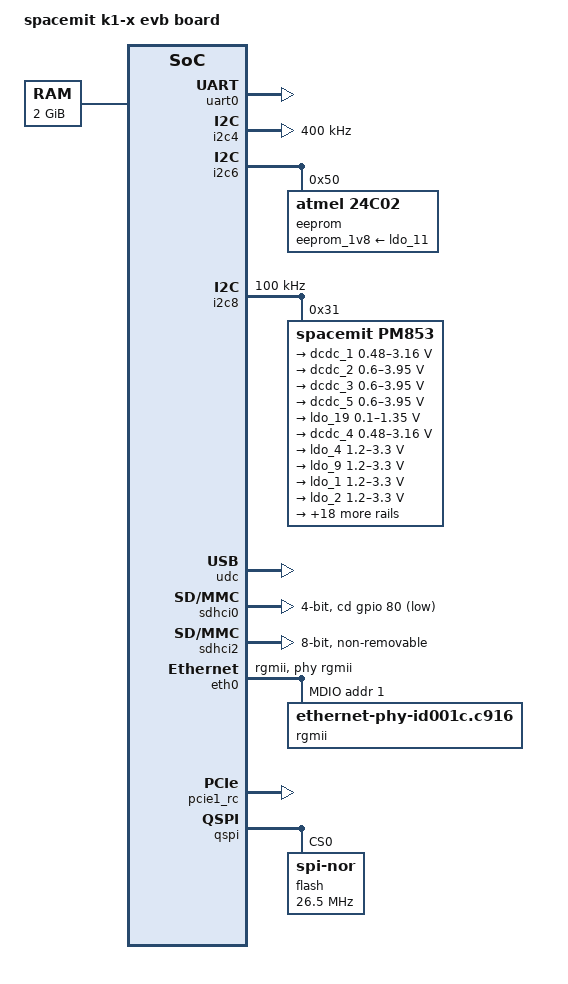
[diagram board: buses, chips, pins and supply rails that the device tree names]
// SPDX-License-Identifier: (GPL-2.0 OR MIT)
/* Copyright (c) 2023 Spacemit, Inc */

/dts-v1/;

#include "k1-x.dtsi"
#include "k1-x_pinctrl.dtsi"

/ {
	model = "spacemit k1-x evb board";

	memory@0 {
		device_type = "memory";
		reg = <0x00000000 0x00000000 0x00000000 0x80000000>;
		u-boot,dm-spl;
	};

	chosen {
		bootargs = "earlycon=sbi console=ttyS0,115200 debug loglevel=8,initcall_debug=1 rdinit=/init.tmp";
		stdout-path = "serial0:115200n8";
		u-boot,dm-spl;
	};
};

&cpu_0 {
	/* boot frequency for cluster-0, should be 1600000, 1228000, 819000, or 614000 */
	boot_freq_cluster0 = <1228000>;
	/* boot frequency for cluster-1, should be 1600000, 1228000, 819000, or 614000 */
	boot_freq_cluster1 = <1228000>;
	/* boot voltage for cpu, should be 800~1200, which means 0.8v~1.2v */
	boot_voltage = <950>;
};

&dramc {
	/* dram data rate, should be 1200, 1600, or 2400 */
	datarate = <2400>;
	/* boot voltage for dram, should be 600~800, which means 0.6v~0.8v */
	dram_voltage = <650>;
};

&cpus {
	timebase-frequency = <24000000>;
};

&uart0 {
	status = "okay";
};

&i2c0 {
	status = "disabled";
};

&i2c1 {
	status = "disabled";
};

&i2c2 {
	status = "disabled";
};

&i2c3 {
	/* SEC_I2C */
	status = "disabled";
};

&i2c4 {
	clock-frequency = <400000>;
	status = "okay";
};

&i2c5 {
	status = "disabled";
};

&i2c6 {
	#address-cells = <1>;
        #size-cells = <0>;
        pinctrl-names = "default";
        pinctrl-0 = <&pinctrl_i2c6_1>;
        status = "okay";

        eeprom@50{
                compatible = "atmel,24c02";
                reg = <0x50>;
                #address-cells = <1>;
                #size-cells = <1>;

                eeprom_1v8-supply = <&ldo_11>;
                vin-supply-names = "eeprom_1v8";
                status = "okay";
        };

};

&i2c7 {
	status = "disabled";
};

&i2c8 {
	/* PWR_I2C */
	clock-frequency = <100000>;
	u-boot,dm-spl;
	status = "okay";

	pm853: pmic@31 {
		compatible = "spacemit,pm853";
		reg = <0x31>;
		u-boot,dm-spl;

		regulators {
			/* buck */
			dcdc_1: DCDC_REG1 {
				regulator-name = "dcdc1";
				regulator-min-microvolt = <480000>;
				regulator-max-microvolt = <3160000>;
				regulator-boot-on;
				u-boot,dm-spl;
				regulator-state-mem {
					regulator-off-in-suspend;
					u-boot,dm-spl;
				};
			};

			dcdc_2: DCDC_REG2 {
				regulator-name = "dcdc2";
				regulator-min-microvolt = <600000>;
				regulator-max-microvolt = <3950000>;
			};

			dcdc_3: DCDC_REG3 {
				regulator-name = "dcdc3";
				regulator-min-microvolt = <600000>;
				regulator-max-microvolt = <3950000>;
			};

			/**
			 * the order of powering on
			 * 1. dcdc5
			 * 2. ldo19
			 * 3. dcdc4
			 * 4. ldo4
			 * 5. ldo9
			 */
			dcdc_5: DCDC_REG5 {
				regulator-name = "dcdc5";
				regulator-min-microvolt = <600000>;
				regulator-max-microvolt = <3950000>;
				regulator-boot-on;
				u-boot,dm-spl;
				regulator-state-mem {
					regulator-off-in-suspend;
					u-boot,dm-spl;
				};
			};

			ldo_19: LDO_REG19 {
				regulator-name = "ldo19";
				regulator-min-microvolt = <100000>;
				regulator-max-microvolt = <1350000>;
				regulator-boot-on;
				u-boot,dm-spl;
				regulator-state-mem {
					regulator-off-in-suspend;
					u-boot,dm-spl;
				};
			};

			dcdc_4: DCDC_REG4 {
				regulator-name = "dcdc4";
				regulator-min-microvolt = <480000>;
				regulator-max-microvolt = <3160000>;
				regulator-boot-on;
				u-boot,dm-spl;
				regulator-state-mem {
					regulator-off-in-suspend;
					u-boot,dm-spl;
				};
			};

			ldo_4: LDO_REG4 {
				regulator-name = "ldo4";
				regulator-min-microvolt = <1200000>;
				regulator-max-microvolt = <3300000>;
				regulator-boot-on;
				u-boot,dm-spl;
				regulator-state-mem {
					regulator-off-in-suspend;
					u-boot,dm-spl;
				};
			};

			ldo_9: LDO_REG9 {
				regulator-name = "ldo9";
				regulator-min-microvolt = <1200000>;
				regulator-max-microvolt = <3300000>;
				regulator-boot-on;
				u-boot,dm-spl;
				regulator-state-mem {
					regulator-off-in-suspend;
					u-boot,dm-spl;
				};
			};

			/* ldo */
			ldo_1: LDO_REG1 {
				regulator-name = "ldo1";
				regulator-min-microvolt = <1200000>;
				regulator-max-microvolt = <3300000>;
			};

			ldo_2: LDO_REG2 {
				regulator-name = "ldo2";
				regulator-min-microvolt = <1200000>;
				regulator-max-microvolt = <3300000>;
			};

			ldo_3: LDO_REG3 {
				regulator-name = "ldo3";
				regulator-min-microvolt = <1200000>;
				regulator-max-microvolt = <3300000>;
			};

			ldo_5: LDO_REG5 {
				regulator-name = "ldo5";
				regulator-min-microvolt = <1600000>;
				regulator-max-microvolt = <1900000>;
			};

			ldo_6: LDO_REG6 {
				regulator-name = "ldo6";
				regulator-min-microvolt = <1200000>;
				regulator-max-microvolt = <3300000>;
			};

			ldo_7: LDO_REG7 {
				regulator-name = "ldo7";
				regulator-min-microvolt = <1200000>;
				regulator-max-microvolt = <1950000>;
			};

			ldo_8: LDO_REG8 {
				regulator-name = "ldo8";
				regulator-min-microvolt = <1200000>;
				regulator-max-microvolt = <3300000>;
			};

			ldo_10: LDO_REG10 {
				regulator-name = "ldo10";
				regulator-min-microvolt = <1200000>;
				regulator-max-microvolt = <3300000>;
			};

			ldo_11: LDO_REG11 {
				regulator-name = "ldo11";
				regulator-always-on;
				regulator-min-microvolt = <1200000>;
				regulator-max-microvolt = <1950000>;
				regulator-state-mem {
                                        regulator-off-in-suspend;
                                        u-boot,dm-spl;
				};
			};

			ldo_12: LDO_REG12 {
				regulator-name = "ldo12";
				regulator-min-microvolt = <1200000>;
				regulator-max-microvolt = <3300000>;
			};

			ldo_13: LDO_REG13 {
				regulator-name = "ldo13";
				regulator-min-microvolt = <1200000>;
				regulator-max-microvolt = <3300000>;
			};

			ldo_14: LDO_REG14 {
				regulator-name = "ldo14";
				regulator-min-microvolt = <1200000>;
				regulator-max-microvolt = <3300000>;
			};

			ldo_15: LDO_REG15 {
				regulator-name = "ldo15";
				regulator-min-microvolt = <1200000>;
				regulator-max-microvolt = <1950000>;
			};

			ldo_16: LDO_REG16 {
				regulator-name = "ldo16";
				regulator-min-microvolt = <1200000>;
				regulator-max-microvolt = <3300000>;
			};

			ldo_17: LDO_REG17 {
				regulator-name = "ldo17";
				regulator-min-microvolt = <100000>;
				regulator-max-microvolt = <1350000>;
			};

			ldo_18: LDO_REG18 {
				regulator-name = "ldo18";
				regulator-min-microvolt = <1200000>;
				regulator-max-microvolt = <1950000>;
			};

			ldo_20: LDO_REG20 {
				regulator-name = "ldo20";
				regulator-min-microvolt = <100000>;
				regulator-max-microvolt = <1350000>;
			};

			ldo_21: LDO_REG21 {
				regulator-name = "ldo21";
				regulator-min-microvolt = <1200000>;
				regulator-max-microvolt = <1950000>;
			};

			ldo_22: LDO_REG22 {
				regulator-name = "ldo22";
				regulator-min-microvolt = <100000>;
				regulator-max-microvolt = <1350000>;
			};

			sw_1: SWITCH_REG1 {
				regulator-name = "switch1";
			};
		};
	};
};

&pinctrl {
	usbp1_vbus: usbp1_vbus {
		pinctrl-single,pins =<
			K1X_PADCONF(GPIO_66, MUX_MODE0, (EDGE_NONE | PULL_UP | PAD_1V8_DS2))    /* drive_vbus1_iso */
		>;
	};

	gpio80_pmx_func0: gpio80_pmx_func0 {
		pinctrl-single,pins = <
			K1X_PADCONF(GPIO_80, MUX_MODE0, (EDGE_BOTH | PULL_UP | PAD_3V_DS4))  /* mmc cd */
		>;
	};
};

&udc {
	status = "okay";
};

&usbphy1 {
	status = "disabled";
};

&ehci1 {
	pinctrl-names = "default";
	pinctrl-0 = <&usbp1_vbus>;
	status = "disabled";
};

&usbdrd3 {
	status = "disabled";
	dwc3@c0a00000 {
		maximum-speed = "high-speed";
		dr_mode = "peripheral";
		phy_type = "utmi_wide";
		snps,dis_enblslpm_quirk;
	};
};

&sdhci0 {
	pinctrl-names = "default";
	pinctrl-0 = <&pinctrl_mmc1 &gpio80_pmx_func0>;
	bus-width = <4>;
	cd-gpios = <&gpio 80 0>;
	cd-inverted;
	cap-sd-highspeed;
	sdh-phy-module = <0>;
	status = "okay";
};

/* eMMC */
&sdhci2 {
	bus-width = <8>;
	non-removable;
	mmc-hs400-1_8v;
	mmc-hs400-enhanced-strobe;
	sdh-phy-module = <1>;
	status = "okay";
};

&eth0 {
	status = "okay";
	pinctrl-names = "default";
	pinctrl-0 = <&pinctrl_gmac0>;

	phy-reset-pin = <44>;

	clk_tuning_enable;
	clk-tuning-by-delayline;
	tx-phase = <90>;
	rx-phase = <73>;

	phy-mode = "rgmii";
	phy-addr = <1>;
	phy-handle = <&rgmii>;

	ref-clock-from-phy;

	mdio {
		#address-cells = <0x1>;
		#size-cells = <0x0>;
		rgmii: phy@0 {
			compatible = "ethernet-phy-id001c.c916";
			device_type = "ethernet-phy";
			reg = <0x1>;
		};
	};
};

&pcie0_rc {
	status = "disabled";
};

&pcie1_rc {
	status = "okay";

	pinctrl-names = "default";
	pinctrl-0 = <&pinctrl_pcie1_0>;
};

&qspi {
        status = "okay";
        pinctrl-names = "default";
        pinctrl-0 = <&pinctrl_qspi>;

        flash@0 {
                compatible = "jedec,spi-nor";
                reg = <0>;
                spi-max-frequency = <26500000>;
                m25p,fast-read;
                broken-flash-reset;
                u-boot,dm-spl;
                status = "okay";
        };
};
